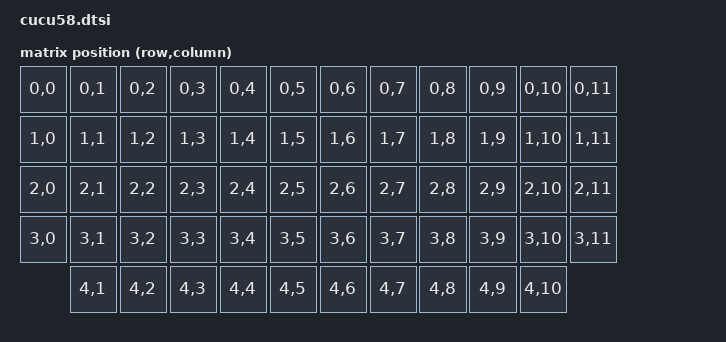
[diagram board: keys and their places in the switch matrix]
/*
 * Cucu58: the part of the hardware description shared by both halves.
 *
 * Matrix (per half): 6 columns x 5 rows, COL2ROW diodes (see README.md > Wiring).
 *   rows (kscan order): 0 num, 1 top, 2 home, 3 bottom, 4 thumb
 *   left columns:  0 outer, 1 pinky, 2 ring, 3 middle, 4 index, 5 inner
 *   right columns: 0 inner, 1 index, 2 middle, 3 ring, 4 pinky, 5 outer (listed in
 *                  physical order, left to right, so the transform is a simple offset)
 * The GPIO pins differ per half (the right PCB is flipped), so they live in the overlays.
 */

#include <dt-bindings/zmk/matrix_transform.h>
#include "cucu58-layout.dtsi"

&cucu58_layout {
    transform = <&default_transform>;
};

/ {
    chosen {
        zmk,kscan = &kscan0;
        zmk,physical-layout = &cucu58_layout;
    };

    /*
     * Maps every (row, column) of the electrical matrix to a position in the keymap.
     * Both halves together form a 12-column matrix: the right half is shifted by 6
     * columns (col-offset in cucu58_right.overlay).
     *
     *  num    | outer pinky ring middle index inner |   | inner index middle ring pinky outer |
     *  top    |  ...                                |   |  ...                                |
     *  home   |  ...                                |   |  ...                                |
     *  bottom |  ...                                |   |  ...                                |
     *  thumb  |      super inny middy reachy extra  |   | extra reachy middy inny super       |
     *
     * The outer column has no thumb key, so RC(4,0) and RC(4,11) are not used.
     */
    default_transform: keymap_transform_0 {
        compatible = "zmk,matrix-transform";
        columns = <12>;
        rows = <5>;
        map = <
RC(0,0) RC(0,1) RC(0,2) RC(0,3) RC(0,4) RC(0,5)   RC(0,6) RC(0,7) RC(0,8) RC(0,9) RC(0,10) RC(0,11)
RC(1,0) RC(1,1) RC(1,2) RC(1,3) RC(1,4) RC(1,5)   RC(1,6) RC(1,7) RC(1,8) RC(1,9) RC(1,10) RC(1,11)
RC(2,0) RC(2,1) RC(2,2) RC(2,3) RC(2,4) RC(2,5)   RC(2,6) RC(2,7) RC(2,8) RC(2,9) RC(2,10) RC(2,11)
RC(3,0) RC(3,1) RC(3,2) RC(3,3) RC(3,4) RC(3,5)   RC(3,6) RC(3,7) RC(3,8) RC(3,9) RC(3,10) RC(3,11)
        RC(4,1) RC(4,2) RC(4,3) RC(4,4) RC(4,5)   RC(4,6) RC(4,7) RC(4,8) RC(4,9) RC(4,10)
        >;
    };

    kscan0: kscan {
        compatible = "zmk,kscan-gpio-matrix";
        // Lets a key press wake the board from deep sleep (CONFIG_ZMK_SLEEP).
        wakeup-source;
        // Current flows column -> switch -> diode -> row (diode cathode on the row net).
        diode-direction = "col2row";
        // col-gpios and row-gpios: see cucu58_left.overlay / cucu58_right.overlay
    };
};
